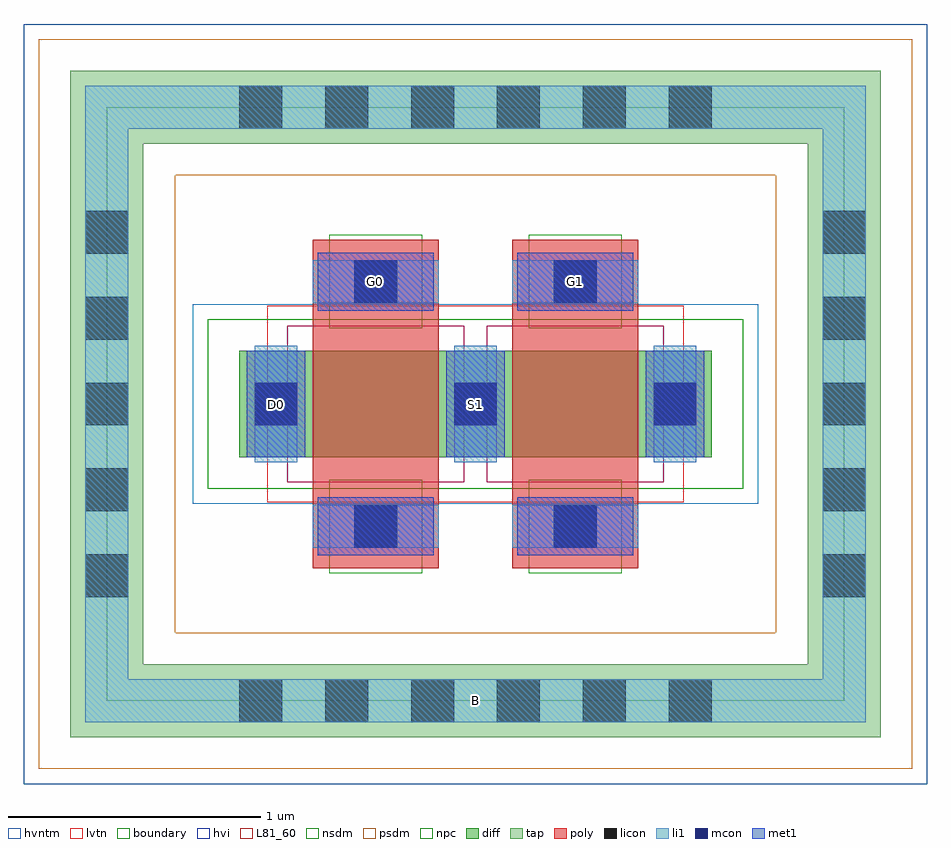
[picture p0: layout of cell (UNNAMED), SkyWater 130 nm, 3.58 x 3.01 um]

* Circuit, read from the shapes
.subckt (UNNAMED) B D0 G0 G1 S1
XM1 S1 G0 D0 B sky130_fd_pr__nfet_05v0_nvt w=0.42 l=0.5
XM2 n1 G1 S1 B sky130_fd_pr__nfet_05v0_nvt w=0.42 l=0.5
.ends

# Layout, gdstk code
import gdstk
lib = gdstk.Library(unit=1e-6, precision=1e-09)
def R(c, l, rs):  # rectangles x0, y0, x1, y1
    for r in rs: c.add(gdstk.rectangle(r[:2], r[2:], *l))
def A(c, l, x, y, w, h, nx, ny, dx, dy):  # array of equal rectangles
    R(c, l, [(x+i*dx, y+j*dy, x+i*dx+w, y+j*dy+h) for i in range(nx) for j in range(ny)])
diff = (65, 20)
tap = (65, 44)
poly = (66, 20)
licon = (66, 44)
li1 = (67, 20)
mcon = (67, 44)
met1 = (68, 20)
hvi = (75, 20)
L81_60 = (81, 60)
nsdm = (93, 44)
psdm = (94, 20)
npc = (95, 20)
hvntm = (125, 20)
lvtn = (125, 44)
boundary = (235, 4)

c__unnamed_ = lib.new_cell('(UNNAMED)')
R(c__unnamed_, diff, [(-0.935,-0.21,0.935,0.21)])
R(c__unnamed_, tap, [(-1.605,-1.32,1.605,-1.03), (-1.605,-1.03,-1.315,1.03), (1.315,-1.03,1.605,1.03), (-1.605,1.03,1.605,1.32)])
R(c__unnamed_, poly, [(-0.645,-0.65,-0.145,0.65), (0.145,-0.65,0.645,0.65)])
A(c__unnamed_, licon, -0.935, -1.26, 0.17, 0.17, 6, 2, 0.34, 2.35)
A(c__unnamed_, licon, -1.545, -0.765, 0.17, 0.17, 1, 5, 0, 0.34)
A(c__unnamed_, licon, 1.375, -0.765, 0.17, 0.17, 1, 5, 0, 0.34)
A(c__unnamed_, licon, -0.875, -0.085, 0.17, 0.17, 3, 1, 0.79, 0)
R(c__unnamed_, licon, [(-0.48,-0.57,-0.31,-0.4), (0.31,-0.57,0.48,-0.4), (-0.48,0.4,-0.31,0.57), (0.31,0.4,0.48,0.57)])
A(c__unnamed_, li1, -0.875, -0.23, 0.17, 0.46, 3, 1, 0.79, 0)
R(c__unnamed_, li1, [(-1.545,-1.26,1.545,-1.09), (-1.545,-1.09,-1.375,1.09), (1.375,-1.09,1.545,1.09), (-0.645,-0.57,-0.145,-0.4), (0.145,-0.57,0.645,-0.4), (-0.645,0.4,-0.145,0.57), (0.145,0.4,0.645,0.57), (-1.545,1.09,1.545,1.26)])
A(c__unnamed_, mcon, -0.875, -0.085, 0.17, 0.17, 3, 1, 0.79, 0)
R(c__unnamed_, mcon, [(-0.48,-0.57,-0.31,-0.4), (0.31,-0.57,0.48,-0.4), (-0.48,0.4,-0.31,0.57), (0.31,0.4,0.48,0.57)])
A(c__unnamed_, met1, -0.905, -0.21, 0.23, 0.42, 3, 1, 0.79, 0)
R(c__unnamed_, met1, [(-0.625,-0.6,-0.165,-0.37), (0.165,-0.6,0.625,-0.37), (-0.625,0.37,-0.165,0.6), (0.165,0.37,0.625,0.6)])
R(c__unnamed_, hvi, [(-1.79,-1.505,1.79,1.505)])
R(c__unnamed_, L81_60, [(-0.745,-0.31,-0.045,0.31), (0.045,-0.31,0.745,0.31)])
R(c__unnamed_, nsdm, [(-1.06,-0.335,1.06,0.335)])
R(c__unnamed_, psdm, [(-1.73,-1.445,1.73,-0.905), (-1.73,-0.905,-1.19,0.905), (1.19,-0.905,1.73,0.905), (-1.73,0.905,1.73,1.445)])
R(c__unnamed_, npc, [(-0.58,-0.67,-0.21,-0.3), (0.21,-0.67,0.58,-0.3), (-0.58,0.3,-0.21,0.67), (0.21,0.3,0.58,0.67)])
R(c__unnamed_, hvntm, [(-1.12,-0.395,1.12,0.395)])
R(c__unnamed_, lvtn, [(-0.825,-0.39,0.825,0.39)])
R(c__unnamed_, boundary, [(-1.46,-1.175,1.46,1.175)])
c__unnamed_.add(gdstk.Label('B', (0,-1.175), layer=67, texttype=5))
c__unnamed_.add(gdstk.Label('D0', (-0.79,0), layer=67, texttype=5))
c__unnamed_.add(gdstk.Label('G0', (-0.395,0.485), layer=67, texttype=5))
c__unnamed_.add(gdstk.Label('S1', (0,0), layer=67, texttype=5))
c__unnamed_.add(gdstk.Label('G1', (0.395,0.485), layer=67, texttype=5))

lib.write_gds('_UNNAMED_.gds')
